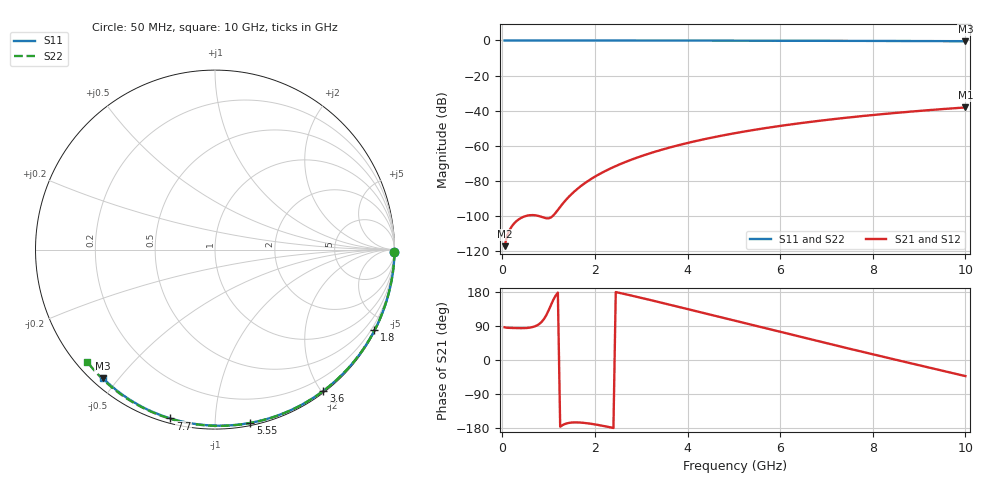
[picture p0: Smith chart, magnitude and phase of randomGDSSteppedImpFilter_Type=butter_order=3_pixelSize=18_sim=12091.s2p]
! freq	dB(S11)	phase(S11)	dB(S12)	phase(S12)
!  dB(S21)	phase(S21)	dB(S22)	phase(S22)
!S-par simulation data
#  GHz  S  DB  R 50
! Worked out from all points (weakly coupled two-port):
!   200 points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, 50 MHz to 10 GHz, reference 50 ohm
!   highest |S21| = -38.17 dB at 10 GHz (marker M1); lowest = -117.2 dB at 50 MHz (marker M2)
!   lowest |S11| = -0.4 dB at 10 GHz (marker M3), VSWR 39.17, Z = 1.54 - j22.7 ohm
!   |S11| at or under -10 dB: nowhere
!   |S22| runs from -0.5 to 0.0 dB; largest |S21 - S12| = 0
!   S11 on the Smith chart (normalised r, x): 50 MHz: open; 1.8 GHz: 0.04, -4.19; 3.6 GHz: 0.02, -2.03; 5.55 GHz: 0.02, -1.22; 7.7 GHz: 0.02, -0.77; 10 GHz: 0.03, -0.45
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0.05  -0.00 -0.8  -117.23 86.3  -117.23 86.3  -0.00 -0.8
0.45  -0.01 -6.8  -100.58 84.1  -100.58 84.1  -0.01 -7.2
0.9  -0.02 -13.6  -101.01 108.2  -101.01 108.2  -0.02 -14.4
1.75  -0.03 -26.1  -81.93 -165.8  -81.93 -165.8  -0.04 -27.7
1.8  -0.03 -26.9  -80.99 -166.4  -80.99 -166.4  -0.04 -28.4
1.85  -0.04 -27.6  -80.09 -167.2  -80.09 -167.2  -0.04 -29.2
2.15  -0.04 -32.0  -75.40 -173.2  -75.40 -173.2  -0.04 -33.8
2.35  -0.04 -34.9  -72.76 -178.1  -72.76 -178.1  -0.05 -36.9
2.55  -0.05 -37.7  -70.42 176.6  -70.42 176.6  -0.05 -39.9
2.95  -0.06 -43.4  -66.38 165.4  -66.38 165.4  -0.06 -46.0
3.4  -0.07 -49.8  -62.60 152.3  -62.60 152.3  -0.07 -52.6
3.6  -0.07 -52.5  -61.11 146.4  -61.11 146.4  -0.07 -55.6
3.9  -0.08 -56.7  -59.06 137.4  -59.06 137.4  -0.08 -59.9
4.3  -0.09 -62.1  -56.61 125.4  -56.61 125.4  -0.09 -65.6
5.05  -0.11 -72.0  -52.71 102.7  -52.71 102.7  -0.12 -76.1
5.55  -0.13 -78.5  -50.49 87.6  -50.49 87.6  -0.14 -82.9
6.1  -0.15 -85.4  -48.33 71.1  -48.33 71.1  -0.16 -90.2
6.7  -0.18 -92.8  -46.24 53.3  -46.24 53.3  -0.19 -98.0
7.7  -0.24 -104.8  -43.28 23.8  -43.28 23.8  -0.25 -110.6
8.35  -0.29 -112.4  -41.63 4.9  -41.63 4.9  -0.30 -118.7
9.2  -0.36 -122.1  -39.73 -19.6  -39.73 -19.6  -0.38 -129.0
10  -0.44 -131.1  -38.17 -42.5  -38.17 -42.5  -0.47 -138.7
